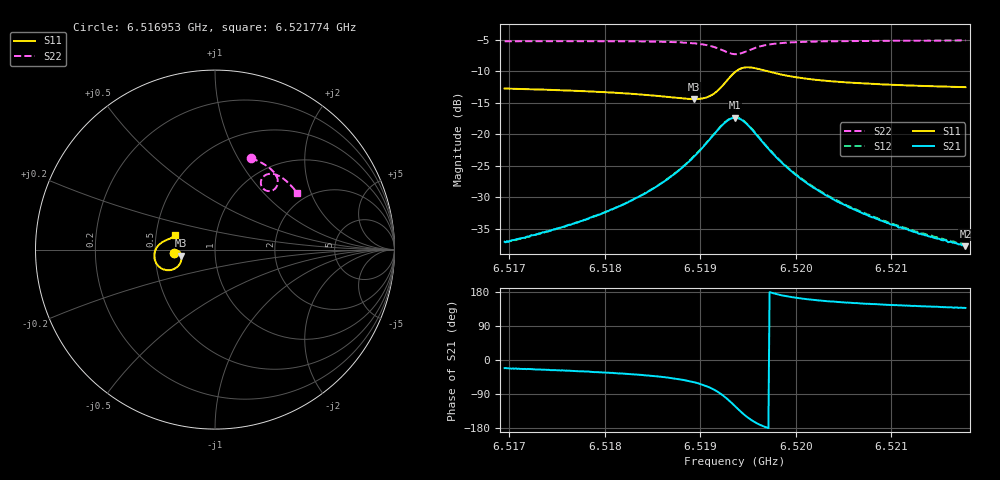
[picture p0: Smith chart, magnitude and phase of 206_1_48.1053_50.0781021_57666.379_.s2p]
#  HZ  S  RI  R  50.00
! Rohde & Schwarz Vector Network Analyzer
! Rohde-Schwarz,ZNB20-2Port,1311601062101988,3.16
! Created: UTC 12/23/2023, 3:55:16 AM
! freq[Hz]  re:S11  im:S11  re:S21  im:S21  re:S12  im:S12  re:S22  im:S22
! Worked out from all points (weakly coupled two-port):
!   401 points, 6.516953 GHz to 6.521774 GHz, reference 50 ohm
!   highest |S21| = -17.35 dB at 6.519363 GHz (marker M1); lowest = -37.7 dB at 6.521774 GHz (marker M2)
!   lowest |S11| = -14.4 dB at 6.518929 GHz (marker M3), VSWR 1.47, Z = 34.1 - j2.38 ohm
!   |S11| at or under -10 dB: start of sweep to 6.519373 GHz; 6.519707 GHz to end of sweep
!   |S22| runs from -7.3 to -5.1 dB; largest |S21 - S12| = 0.0042
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6.5169525e9  -0.2305 -0.018  0.0131 -0.00516  0.0132 -0.00465  0.1998 0.5105
6.5174106e9  -0.2255 -0.0114  0.0153 -0.00741  0.0155 -0.00699  0.2337 0.4964
6.5177602e9  -0.2205 -0.00735  0.0178 -0.0103  0.0182 -0.00971  0.2595 0.4835
6.5182183e9  -0.2116 -0.00508  0.0228 -0.0168  0.0234 -0.0162  0.2938 0.4619
6.5185678e9  -0.2011 -0.00934  0.0287 -0.0275  0.0297 -0.0267  0.321 0.4392
6.5187607e9  -0.194 -0.0178  0.0326 -0.0388  0.034 -0.0381  0.3359 0.4214
6.5189295e9  -0.1877 -0.0336  0.0347 -0.0564  0.0366 -0.0556  0.347 0.3989
6.51905e9  -0.1872 -0.0544  0.0316 -0.0765  0.034 -0.0761  0.3502 0.3758
6.5191344e9  -0.1941 -0.0755  0.0222 -0.0958  0.0252 -0.0958  0.3457 0.3558
6.519267e9  -0.2359 -0.1112  -0.0206 -0.1241  -0.0172 -0.1256  0.3137 0.3275
6.5193152e9  -0.2634 -0.115  -0.046 -0.1248  -0.0426 -0.1271  0.2941 0.3264
6.5193635e9  -0.2929 -0.1078  -0.0715 -0.1154  -0.0687 -0.1183  0.2745 0.3344
6.5194117e9  -0.3175 -0.0895  -0.0916 -0.0967  -0.0894 -0.1  0.2607 0.3501
6.5194719e9  -0.3352 -0.0585  -0.1037 -0.0677  -0.1025 -0.0714  0.2553 0.3739
6.5195804e9  -0.3342 -0.00877  -0.0977 -0.0255  -0.0978 -0.0284  0.2696 0.4062
6.5196769e9  -0.3201 0.0179  -0.0826 -0.00494  -0.0832 -0.0074  0.29 0.419
6.519918e9  -0.2877 0.0449  -0.0526 0.0115  -0.0534 0.0101  0.3309 0.4204
6.5201711e9  -0.2676 0.0543  -0.0359 0.0137  -0.0368 0.0129  0.36 0.4086
6.5205448e9  -0.2507 0.0614  -0.0235 0.0127  -0.0242 0.0124  0.3905 0.3876
6.5209788e9  -0.2386 0.0678  -0.0161 0.0111  -0.0167 0.0109  0.4183 0.362
6.5213043e9  -0.2318 0.0723  -0.0129 0.01  -0.0134 0.00989  0.4364 0.3423
6.5217744e9  -0.2237 0.0787  -0.00956 0.0088  -0.0101 0.00877  0.4596 0.3131
